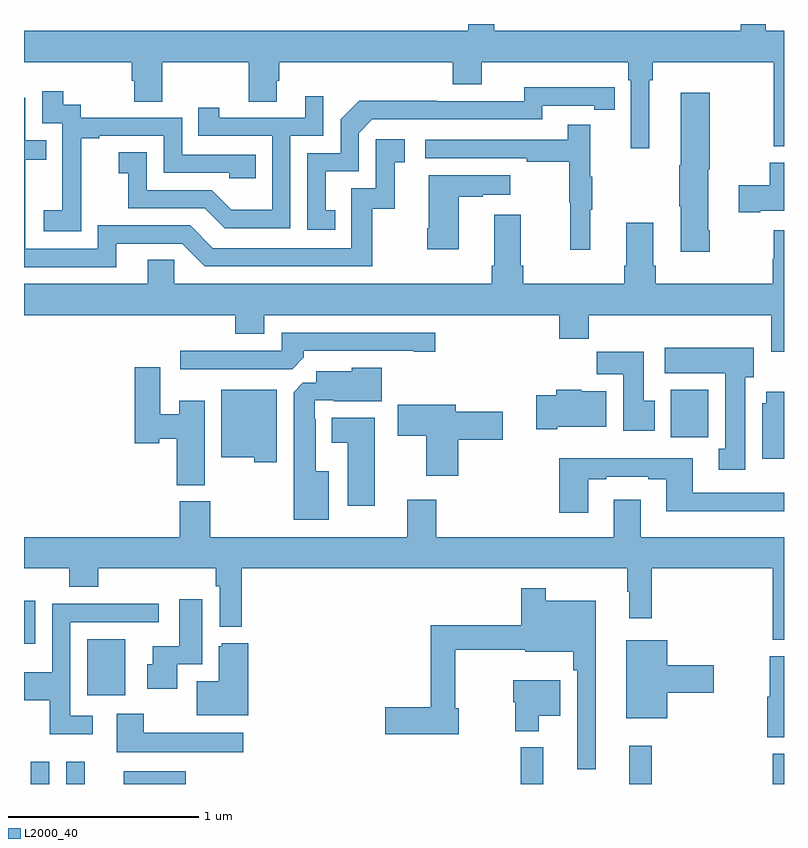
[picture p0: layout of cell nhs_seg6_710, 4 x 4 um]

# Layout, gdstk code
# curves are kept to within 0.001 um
import gdstk
lib = gdstk.Library(unit=1e-6, precision=1e-09)
def R(c, l, rs):  # rectangles x0, y0, x1, y1
    for r in rs: c.add(gdstk.rectangle(r[:2], r[2:], *l))
def P(c, l, *ps):  # polygons
    for p in ps: c.add(gdstk.Polygon(p, *l))
L2000_40 = (2000, 40)

nhs_seg6_710 = lib.new_cell('nhs_seg6_710')
R(nhs_seg6_710, L2000_40, [(155.036,979.5,155.133,979.618), (155.223,979.5,155.321,979.618), (155.525,979.5,155.851,979.567), (157.615,979.5,157.733,979.693), (158.186,979.5,158.303,979.702), (158.942,979.5,159,979.66), (155.333,979.967,155.533,980.263), (155,980.237,155.059,980.464), (158.405,981.324,158.601,981.574)])
P(nhs_seg6_710, L2000_40, [(158.29,983.204),(158.309,983.204),(158.309,983.3),(158.947,983.3),(158.947,982.856),(159,982.856),(159,983.464),(158.903,983.464),(158.903,983.5),(158.773,983.5),(158.773,983.464),(157.475,983.464),(157.475,983.5),(157.339,983.5),(157.339,983.464),(155,983.464),(155,983.3),(155.567,983.3),(155.567,983.202),(155.579,983.202),(155.579,983.092),(155.727,983.092),(155.727,983.3),(156.184,983.3),(156.184,983.092),(156.331,983.092),(156.331,983.202),(156.344,983.202),(156.344,983.3),(157.256,983.3),(157.256,983.183),(157.408,983.183),(157.408,983.3),(158.18,983.3),(158.18,983.204),(158.193,983.204),(158.193,982.845),(158.29,982.845)],
  [(156.638,982.521),(156.589,982.521),(156.589,982.725),(156.762,982.725),(156.762,982.926),(156.834,982.998),(157.728,982.998),(157.728,983.07),(158,983.07),(158,983.05),(158.108,983.05),(158.108,983.166),(157.632,983.167),(157.632,983.094),(157.172,983.094),(157.172,983.096),(156.764,983.096),(156.666,982.998),(156.666,982.821),(156.492,982.821),(156.492,982.416),(156.638,982.416)],
  [(155.301,982.615),(155.3,982.615),(155.3,982.899),(155.395,982.899),(155.395,982.911),(155.736,982.911),(155.736,982.716),(156.081,982.716),(156.081,982.689),(156.221,982.689),(156.221,982.812),(155.832,982.812),(155.832,983.007),(155.298,983.007),(155.298,983.076),(155.206,983.076),(155.206,983.146),(155.097,983.146),(155.097,982.977),(155.202,982.977),(155.202,982.748),(155.201,982.748),(155.201,982.519),(155.103,982.519),(155.103,982.409),(155.301,982.409)],
  [(158.61,982.414),(158.602,982.414),(158.602,982.735),(158.61,982.735),(158.61,983.137),(158.456,983.137),(158.456,982.757),(158.449,982.757),(158.449,982.54),(158.456,982.54),(158.456,982.302),(158.61,982.302)],
  [(156.402,982.911),(156.576,982.911),(156.576,983.119),(156.479,983.119),(156.479,983.007),(156.028,983.007),(156.028,983.059),(155.917,983.059),(155.917,982.911),(156.306,982.911),(156.306,982.522),(156.092,982.522),(155.988,982.626),(155.646,982.626),(155.646,982.825),(155.499,982.825),(155.499,982.715),(155.548,982.715),(155.548,982.53),(155.951,982.53),(156.056,982.425),(156.402,982.425)],
  [(155.485,982.344),(155.832,982.344),(155.952,982.224),(156.832,982.224),(156.832,982.527),(156.95,982.527),(156.95,982.773),(157.003,982.773),(157.003,982.894),(156.852,982.894),(156.852,982.635),(156.723,982.635),(156.723,982.32),(155.994,982.32),(155.874,982.44),(155.388,982.44),(155.388,982.317),(155.007,982.317),(155.007,982.786),(155.117,982.786),(155.117,982.887),(155.007,982.887),(155.007,983.112),(155,983.112),(155,982.221),(155.485,982.221)],
  [(157.979,982.523),(157.99,982.523),(157.99,982.697),(157.979,982.697),(157.979,982.969),(157.861,982.969),(157.861,982.89),(157.113,982.89),(157.113,982.794),(157.645,982.794),(157.645,982.774),(157.869,982.774),(157.869,982.56),(157.876,982.56),(157.876,982.311),(157.979,982.311)],
  [(158.875,982.517),(159,982.517),(159,982.771),(158.924,982.771),(158.924,982.652),(158.763,982.652),(158.763,982.51),(158.875,982.51)],
  [(157.288,982.591),(157.415,982.591),(157.415,982.601),(157.558,982.601),(157.558,982.705),(157.13,982.705),(157.13,982.426),(157.123,982.426),(157.123,982.314),(157.288,982.314)],
  [(159,982.414),(158.947,982.414),(158.947,982.265),(158.94,982.265),(158.94,982.132),(158.324,982.132),(158.324,982.228),(158.311,982.228),(158.311,982.453),(158.171,982.453),(158.171,982.228),(158.159,982.228),(158.159,982.132),(157.628,982.132),(157.628,982.228),(157.615,982.228),(157.615,982.495),(157.475,982.495),(157.475,982.228),(157.463,982.228),(157.463,982.132),(155.79,982.132),(155.79,982.259),(155.651,982.259),(155.651,982.132),(155,982.132),(155,981.968),(156.113,981.968),(156.113,981.869),(156.265,981.869),(156.265,981.968),(157.817,981.968),(157.817,981.844),(157.973,981.844),(157.973,981.968),(158.933,981.968),(158.933,981.774),(159,981.774)],
  [(156.473,981.746),(156.473,981.78),(157.052,981.78),(157.052,981.775),(157.165,981.775),(157.165,981.876),(156.357,981.876),(156.357,981.78),(155.823,981.78),(155.823,981.684),(156.411,981.684)],
  [(158.797,981.642),(158.842,981.642),(158.842,981.796),(158.373,981.796),(158.373,981.662),(158.69,981.662),(158.69,981.265),(158.657,981.265),(158.657,981.153),(158.797,981.153)],
  [(158.32,981.516),(158.263,981.516),(158.263,981.775),(158.014,981.775),(158.014,981.656),(158.153,981.656),(158.153,981.36),(158.32,981.36)],
  [(155.95,981.517),(155.816,981.517),(155.816,981.445),(155.716,981.445),(155.716,981.694),(155.582,981.694),(155.582,981.293),(155.712,981.293),(155.712,981.316),(155.804,981.316),(155.804,981.073),(155.95,981.073)],
  [(156.604,981.145),(156.535,981.145),(156.535,981.419),(156.531,981.419),(156.531,981.519),(156.631,981.519),(156.631,981.515),(156.883,981.515),(156.883,981.691),(156.726,981.691),(156.726,981.673),(156.539,981.673),(156.539,981.612),(156.468,981.612),(156.419,981.563),(156.419,980.891),(156.604,980.891)],
  [(156.331,981.574),(156.038,981.574),(156.038,981.221),(156.213,981.221),(156.213,981.194),(156.331,981.194)],
  [(157.807,981.38),(158.065,981.38),(158.065,981.568),(157.932,981.568),(157.932,981.574),(157.802,981.574),(157.802,981.546),(157.695,981.546),(157.695,981.368),(157.807,981.368)],
  [(159,981.565),(158.906,981.565),(158.906,981.504),(158.885,981.504),(158.885,981.212),(159,981.212)],
  [(157.286,981.311),(157.519,981.311),(157.519,981.458),(157.273,981.458),(157.273,981.496),(156.966,981.496),(156.966,981.334),(157.118,981.334),(157.118,981.123),(157.286,981.123)],
  [(156.847,981.427),(156.62,981.427),(156.62,981.296),(156.704,981.296),(156.704,980.964),(156.847,980.964)],
  [(157.969,981.105),(158.065,981.105),(158.065,981.117),(158.285,981.117),(158.285,981.105),(158.381,981.105),(158.381,980.936),(159,980.936),(159,981.033),(158.521,981.033),(158.521,981.214),(157.817,981.214),(157.817,980.928),(157.969,980.928)],
  [(159,980.8),(158.245,980.8),(158.245,980.995),(158.105,980.995),(158.105,980.8),(157.169,980.8),(157.169,980.995),(157.016,980.995),(157.016,980.8),(155.979,980.8),(155.979,980.988),(155.819,980.988),(155.819,980.8),(155,980.8),(155,980.636),(155.237,980.636),(155.237,980.537),(155.39,980.537),(155.39,980.636),(156.01,980.636),(156.01,980.54),(156.03,980.54),(156.03,980.328),(156.146,980.328),(156.146,980.636),(158.175,980.636),(158.175,980.513),(158.186,980.513),(158.186,980.373),(158.303,980.373),(158.303,980.636),(158.942,980.636),(158.942,980.258),(159,980.258)],
  [(158.008,980.464),(157.747,980.464),(157.747,980.53),(157.618,980.53),(157.618,980.335),(157.141,980.335),(157.141,979.904),(156.9,979.904),(156.9,979.762),(157.288,979.762),(157.288,979.899),(157.27,979.899),(157.27,980.206),(157.637,980.206),(157.637,980.195),(157.891,980.195),(157.891,980.099),(157.911,980.099),(157.911,979.578),(158.008,979.578)],
  [(155.806,980.13),(155.938,980.13),(155.938,980.473),(155.816,980.473),(155.816,980.226),(155.678,980.226),(155.678,980.131),(155.648,980.131),(155.648,980.001),(155.806,980.001)],
  [(155.362,979.86),(155.244,979.86),(155.244,980.352),(155.71,980.352),(155.71,980.45),(155.473,980.45),(155.473,980.448),(155.148,980.448),(155.148,980.089),(155,980.089),(155,979.942),(155.136,979.942),(155.136,979.763),(155.362,979.763)],
  [(158.386,979.979),(158.629,979.979),(158.629,980.126),(158.386,980.126),(158.386,980.257),(158.171,980.257),(158.171,979.847),(158.386,979.847)],
  [(156.179,980.242),(156.042,980.242),(156.042,980.226),(156.026,980.226),(156.026,980.041),(155.909,980.041),(155.909,979.862),(156.179,979.862)],
  [(159,980.173),(158.924,980.173),(158.924,979.959),(158.912,979.959),(158.912,979.745),(159,979.745)],
  [(157.708,979.859),(157.822,979.859),(157.822,980.047),(157.574,980.047),(157.574,979.929),(157.586,979.929),(157.586,979.778),(157.708,979.778)],
  [(156.154,979.771),(155.629,979.771),(155.629,979.87),(155.489,979.87),(155.489,979.667),(156.154,979.667)])

lib.write_gds('nhs_seg6_710.gds')
